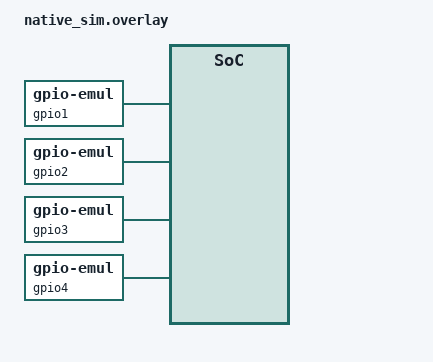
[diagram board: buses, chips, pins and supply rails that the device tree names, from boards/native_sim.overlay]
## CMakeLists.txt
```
# SPDX-FileCopyrightText: Copyright (c) 2024 Jilay Sandeep Pandya
# SPDX-License-Identifier: Apache-2.0

cmake_minimum_required(VERSION 3.28.0)
find_package(Zephyr REQUIRED HINTS $ENV{ZEPHYR_BASE})
project(stepper_api)

target_sources(app PRIVATE src/main.c)
```

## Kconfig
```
# Copyright (c) 2024 Josselin Bunt
# SPDX-License-Identifier: Apache-2.0

mainmenu "Stepper API Test"

source "Kconfig.zephyr"

config STEPPER_TEST_TIMING_TIMEOUT_TOLERANCE_PCT
	int "Stepper timing tolerance percentage"
	default 20
	help
	  Additional margin (%) added to step timing during test timeouts.
	  Accounts for execution and scheduling jitter.

config STEPPER_STOP_SIGNAL_WAIT_TIME_MS
	int "Wait time in ms to wait for stopping to conclude"
	default 0
	help
	  Wait time in milliseconds between stop request and response
```

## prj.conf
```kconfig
# SPDX-FileCopyrightText: Copyright (c) 2024 Jilay Sandeep Pandya
# SPDX-License-Identifier: Apache-2.0

CONFIG_ZTEST=y
CONFIG_TEST=y
CONFIG_TEST_USERSPACE=y
CONFIG_LOG=y
CONFIG_STEPPER_LOG_LEVEL_DBG=y
CONFIG_STEPPER=y
CONFIG_POLL=y
```

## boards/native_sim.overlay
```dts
/*
 * Copyright (c) 2025 Jilay Sandeep Pandya
 * SPDX-License-Identifier: Apache-2.0
 */

#include <zephyr/dt-bindings/gpio/gpio.h>

/ {
	gpio1: gpio1 {
		compatible = "zephyr,gpio-emul";
		#gpio-cells = <0x2>;
		gpio-controller;
		status = "okay";
	};

	gpio2: gpio2 {
		compatible = "zephyr,gpio-emul";
		#gpio-cells = <0x2>;
		gpio-controller;
		status = "okay";
	};

	gpio3: gpio3 {
		compatible = "zephyr,gpio-emul";
		#gpio-cells = <0x2>;
		gpio-controller;
		status = "okay";
	};

	gpio4: gpio4 {
		compatible = "zephyr,gpio-emul";
		#gpio-cells = <0x2>;
		gpio-controller;
		status = "okay";
	};
};
```

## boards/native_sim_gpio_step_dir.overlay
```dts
/*
 * Copyright (c) 2025 Jilay Sandeep Pandya
 * SPDX-License-Identifier: Apache-2.0
 */

#include "native_sim.overlay"

/ {
	aliases {
		stepper = &gpio_step_dir_controller;
	};

	gpio_step_dir_controller: gpio-step-dir-controller {
		compatible = "zephyr,gpio-step-dir-stepper-ctrl";
		step-gpios = <&gpio1 1 GPIO_ACTIVE_HIGH>;
		dir-gpios = <&gpio2 0 GPIO_ACTIVE_HIGH>;
		counter = <&counter0>;
	};
};
```

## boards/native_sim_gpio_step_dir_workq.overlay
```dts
/*
 * Copyright (c) 2025 Jilay Sandeep Pandya
 * SPDX-License-Identifier: Apache-2.0
 */

#include "native_sim.overlay"

/ {
	aliases {
		stepper = &gpio_step_dir_controller;
	};

	gpio_step_dir_controller: gpio-step-dir-controller {
		compatible = "zephyr,gpio-step-dir-stepper-ctrl";
		step-gpios = <&gpio1 1 GPIO_ACTIVE_HIGH>;
		dir-gpios = <&gpio2 0 GPIO_ACTIVE_HIGH>;
	};
};
```

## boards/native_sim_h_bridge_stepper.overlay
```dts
/*
 * Copyright (c) 2025 Jilay Sandeep Pandya
 *
 * SPDX-License-Identifier: Apache-2.0
 */

#include "native_sim.overlay"

/ {
	aliases {
		stepper = &h_bridge_stepper;
	};

	h_bridge_stepper: h-bridge-stepper {
		compatible = "zephyr,h-bridge-stepper-ctrl";
		lut-step-gap = <1>;
		gpios = <&gpio1 0 GPIO_ACTIVE_HIGH>,
			<&gpio2 0 GPIO_ACTIVE_HIGH>,
			<&gpio3 0 GPIO_ACTIVE_HIGH>,
			<&gpio4 0 GPIO_ACTIVE_HIGH>;
		counter = <&counter0>;
		status = "okay";
	};
};
```

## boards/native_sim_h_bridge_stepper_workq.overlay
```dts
/*
 * SPDX-FileCopyrightText: Copyright (c) 2024 Jilay Sandeep Pandya
 * SPDX-License-Identifier: Apache-2.0
 */

#include "native_sim.overlay"

/ {
	aliases {
		stepper = &h_bridge_stepper;
	};

	h_bridge_stepper: h-bridge-stepper {
		compatible = "zephyr,h-bridge-stepper-ctrl";
		lut-step-gap = <1>;
		gpios = <&gpio1 0 GPIO_ACTIVE_HIGH>,
			<&gpio2 0 GPIO_ACTIVE_HIGH>,
			<&gpio3 0 GPIO_ACTIVE_HIGH>,
			<&gpio4 0 GPIO_ACTIVE_HIGH>;
		status = "okay";
	};
};
```

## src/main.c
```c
/*
 * SPDX-FileCopyrightText: Copyright (c) 2025 Jilay Sandeep Pandya
 * SPDX-License-Identifier: Apache-2.0
 */

#include <zephyr/ztest.h>
#include <zephyr/drivers/stepper/stepper_ctrl.h>

#include <zephyr/logging/log.h>
LOG_MODULE_REGISTER(stepper_ctrl_api, CONFIG_STEPPER_LOG_LEVEL);

struct stepper_ctrl_fixture {
	const struct device *dev;
	stepper_ctrl_event_callback_t callback;
};

struct k_poll_signal stepper_signal;
struct k_poll_event stepper_ctrl_event;
void *user_data_received;

#define POLL_AND_CHECK_SIGNAL(signal, event, expected_event, timeout)                              \
	({                                                                                         \
		do {                                                                               \
			zassert_ok(k_poll(&(event), 1, timeout));                                  \
			unsigned int signaled;                                                     \
			int result;                                                                \
			k_poll_signal_check(&(signal), &signaled, &result);                        \
			zassert_equal(signaled, 1, "Signal not set");                              \
			zassert_equal(result, (expected_event), "Signal not set");                 \
		} while (0);                                                                       \
	})

static void stepper_print_event_callback(const struct device *dev, enum stepper_ctrl_event event,
					 void *user_data)
{
	const struct device *dev_callback = user_data;
	user_data_received = user_data;

	switch (event) {
	case STEPPER_CTRL_EVENT_STEPS_COMPLETED:
		k_poll_signal_raise(&stepper_signal, STEPPER_CTRL_EVENT_STEPS_COMPLETED);
		break;
	case STEPPER_CTRL_EVENT_LEFT_END_STOP_DETECTED:
		k_poll_signal_raise(&stepper_signal, STEPPER_CTRL_EVENT_LEFT_END_STOP_DETECTED);
		break;
	case STEPPER_CTRL_EVENT_RIGHT_END_STOP_DETECTED:
		k_poll_signal_raise(&stepper_signal, STEPPER_CTRL_EVENT_RIGHT_END_STOP_DETECTED);
		break;
	case STEPPER_CTRL_EVENT_STOPPED:
		k_poll_signal_raise(&stepper_signal, STEPPER_CTRL_EVENT_STOPPED);
		break;
	default:
		break;
	}

	LOG_DBG("Event %d, %s called for %s, expected for %s\n", event, __func__,
		dev_callback->name, dev->name);
}

static void *stepper_ctrl_setup(void)
{
	static struct stepper_ctrl_fixture fixture = {
		.dev = DEVICE_DT_GET(DT_ALIAS(stepper)),
		.callback = stepper_print_event_callback,
	};

	k_poll_signal_init(&stepper_signal);
	k_poll_event_init(&stepper_ctrl_event, K_POLL_TYPE_SIGNAL, K_POLL_MODE_NOTIFY_ONLY,
			  &stepper_signal);

	zassert_not_null(fixture.dev);
	zassert_equal(stepper_ctrl_set_event_cb(fixture.dev, fixture.callback,
						       (void *)fixture.dev),
		      0, "Failed to set event callback");
	return &fixture;
}

static void stepper_ctrl_before(void *f)
{
	struct stepper_ctrl_fixture *fixture = f;
	bool moving;

	zassert_ok(stepper_ctrl_set_reference_position(fixture->dev, 0));

	zassert_ok(stepper_ctrl_is_moving(fixture->dev, &moving));
	zassert_false(moving, "%s should not report moving", fixture->dev->name);

	k_poll_signal_reset(&stepper_signal);

	user_data_received = NULL;
}

static void stepper_ctrl_after(void *f)
{
	struct stepper_ctrl_fixture *fixture = f;

	k_poll_signal_reset(&stepper_signal);
	zassert_ok(stepper_ctrl_stop(fixture->dev));
	POLL_AND_CHECK_SIGNAL(stepper_signal, stepper_ctrl_event, STEPPER_CTRL_EVENT_STOPPED,
			      K_MSEC(CONFIG_STEPPER_STOP_SIGNAL_WAIT_TIME_MS));
}

ZTEST_SUITE(stepper_ctrl, NULL, stepper_ctrl_setup, stepper_ctrl_before, stepper_ctrl_after, NULL);

ZTEST_F(stepper_ctrl, test_set_micro_step_interval_invalid_zero)
{
	int err = stepper_ctrl_set_microstep_interval(fixture->dev, 0);
	if (err == -ENOSYS) {
		ztest_test_skip();
	}
	zassert_equal(err, -EINVAL, "ustep interval cannot be zero");
}

ZTEST_F(stepper_ctrl, test_actual_position)
{
	int32_t pos = 100u;
	int ret;

	ret = stepper_ctrl_set_reference_position(fixture->dev, pos);
	zassert_equal(ret, 0, "Failed to set reference position");

	ret = stepper_ctrl_get_actual_position(fixture->dev, &pos);
	zassert_equal(ret, 0, "Failed to get actual position");
	zassert_equal(pos, 100u, "Actual position not set correctly");
}

ZTEST_F(stepper_ctrl, test_move_to_positive_step_count)
{
	int32_t pos = 10u;
	int32_t actual_steps;
	bool moving = false;
	int ret;

	ret = stepper_ctrl_set_microstep_interval(fixture->dev, 100 * USEC_PER_SEC);
	if (ret == -ENOSYS) {
		ztest_test_skip();
	}

	zassert_ok(stepper_ctrl_move_to(fixture->dev, pos));
	zassert_ok(stepper_ctrl_is_moving(fixture->dev, &moving));
	zassert_true(moving, "%s reported not moving after move_to", fixture->dev->name);

	POLL_AND_CHECK_SIGNAL(
		stepper_signal, stepper_ctrl_event, STEPPER_CTRL_EVENT_STEPS_COMPLETED,
		K_MSEC(pos * (100 + CONFIG_STEPPER_TEST_TIMING_TIMEOUT_TOLERANCE_PCT)));

	zassert_ok(stepper_ctrl_get_actual_position(fixture->dev, &actual_steps));
	zassert_equal(pos, actual_steps, "Position should be %d but is %d", pos, actual_steps);
	zassert_equal(user_data_received, fixture->dev, "User data not received");
	zassert_ok(stepper_ctrl_is_moving(fixture->dev, &moving));
	zassert_false(moving, "%s reported moving even after completion of steps",
		      fixture->dev->name);
}

ZTEST_F(stepper_ctrl, test_move_to_negative_step_count)
{
	int32_t pos = -10;
	int32_t actual_steps;
	bool moving = false;
	int ret;

	ret = stepper_ctrl_set_microstep_interval(fixture->dev, 100 * USEC_PER_SEC);
	if (ret == -ENOSYS) {
		ztest_test_skip();
	}

	zassert_ok(stepper_ctrl_move_to(fixture->dev, pos));
	zassert_ok(stepper_ctrl_is_moving(fixture->dev, &moving));
	zassert_true(moving, "%s reported not moving after move_to", fixture->dev->name);

	POLL_AND_CHECK_SIGNAL(
		stepper_signal, stepper_ctrl_event, STEPPER_CTRL_EVENT_STEPS_COMPLETED,
		K_MSEC(-pos * (100 + CONFIG_STEPPER_TEST_TIMING_TIMEOUT_TOLERANCE_PCT)));

	zassert_ok(stepper_ctrl_get_actual_position(fixture->dev, &actual_steps));
	zassert_equal(pos, actual_steps, "Position should be %d but is %d", pos, actual_steps);
	zassert_ok(stepper_ctrl_is_moving(fixture->dev, &moving));
	zassert_false(moving, "%s reported moving even after completion of steps",
		      fixture->dev->name);
}

ZTEST_F(stepper_ctrl, test_move_by_positive_step_count)
{
	int32_t steps = 20;
	int32_t actual_steps;
	bool moving = false;
	int ret;

	ret = stepper_ctrl_set_microstep_interval(fixture->dev, 100 * USEC_PER_SEC);
	if (ret == -ENOSYS) {
		ztest_test_skip();
	}

	zassert_ok(stepper_ctrl_move_by(fixture->dev, steps));
	zassert_ok(stepper_ctrl_is_moving(fixture->dev, &moving));
	zassert_true(moving, "%s reported not moving after move_by", fixture->dev->name);

	POLL_AND_CHECK_SIGNAL(
		stepper_signal, stepper_ctrl_event, STEPPER_CTRL_EVENT_STEPS_COMPLETED,
		K_MSEC(steps * (100 + CONFIG_STEPPER_TEST_TIMING_TIMEOUT_TOLERANCE_PCT)));

	zassert_ok(stepper_ctrl_get_actual_position(fixture->dev, &actual_steps));
	zassert_equal(steps, actual_steps, "Position should be %d but is %d", steps, actual_steps);
	zassert_ok(stepper_ctrl_is_moving(fixture->dev, &moving));
	zassert_false(moving, "%s reported moving even after completion of steps",
		      fixture->dev->name);
}

ZTEST_F(stepper_ctrl, test_move_by_negative_step_count)
{
	int32_t steps = -20;
	int32_t actual_steps;
	bool moving = false;
	int ret;

	ret = stepper_ctrl_set_microstep_interval(fixture->dev, 100 * USEC_PER_SEC);
	if (ret == -ENOSYS) {
		ztest_test_skip();
	}

	zassert_ok(stepper_ctrl_move_by(fixture->dev, steps));
	zassert_ok(stepper_ctrl_is_moving(fixture->dev, &moving));
	zassert_true(moving, "%s reported not moving after move_by", fixture->dev->name);

	POLL_AND_CHECK_SIGNAL(
		stepper_signal, stepper_ctrl_event, STEPPER_CTRL_EVENT_STEPS_COMPLETED,
		K_MSEC(-steps * (100 + CONFIG_STEPPER_TEST_TIMING_TIMEOUT_TOLERANCE_PCT)));

	zassert_ok(stepper_ctrl_get_actual_position(fixture->dev, &actual_steps));
	zassert_equal(steps, actual_steps, "Position should be %d but is %d", steps, actual_steps);
	zassert_ok(stepper_ctrl_is_moving(fixture->dev, &moving));
	zassert_false(moving, "%s reported moving even after completion of steps",
		      fixture->dev->name);
}

ZTEST_F(stepper_ctrl, test_run_positive_direction)
{
	uint64_t step_interval = 20000000;
	int32_t actual_steps = 0;
	int ret;

	ret = stepper_ctrl_set_microstep_interval(fixture->dev, step_interval);
	if (ret == -ENOSYS) {
		ztest_test_skip();
	}

	zassert_ok(stepper_ctrl_run(fixture->dev, STEPPER_CTRL_DIRECTION_POSITIVE));
	k_usleep(110000);

	zassert_ok(stepper_ctrl_get_actual_position(fixture->dev, &actual_steps));
	zassert_true(IN_RANGE(actual_steps, 1, 6),
		     "Current position should be between 1 and 6 but is %d", actual_steps);
}

ZTEST_F(stepper_ctrl, test_run_negative_direction)
{
	uint64_t step_interval = 20000000;
	int32_t actual_steps = 0;
	int ret;

	ret = stepper_ctrl_set_microstep_interval(fixture->dev, step_interval);
	if (ret == -ENOSYS) {
		ztest_test_skip();
	}

	zassert_ok(stepper_ctrl_run(fixture->dev, STEPPER_CTRL_DIRECTION_NEGATIVE));
	k_usleep(110000);

	zassert_ok(stepper_ctrl_get_actual_position(fixture->dev, &actual_steps));
	zassert_true(IN_RANGE(actual_steps, -6, -1),
		     "Current position should be between -6 and -1 but is %d", actual_steps);
}

ZTEST_F(stepper_ctrl, test_stop)
{
	/* Run the stepper in positive direction */
	zassert_ok(stepper_ctrl_run(fixture->dev, STEPPER_CTRL_DIRECTION_POSITIVE));

	/* Stop the stepper */
	int ret = stepper_ctrl_stop(fixture->dev);
	bool is_moving;

	if (ret == 0) {
		POLL_AND_CHECK_SIGNAL(stepper_signal, stepper_ctrl_event,
				      STEPPER_CTRL_EVENT_STOPPED,
				      K_MSEC(CONFIG_STEPPER_STOP_SIGNAL_WAIT_TIME_MS));
		zassert_equal(user_data_received, fixture->dev, "User data not received");

		/* Check if the stepper is stopped */
		stepper_ctrl_is_moving(fixture->dev, &is_moving);
		zassert_equal(is_moving, false, "Stepper is still moving");
	} else if (ret == -ENOSYS) {
		stepper_ctrl_is_moving(fixture->dev, &is_moving);
		zassert_equal(is_moving, true,
			      "Stepper should be moving since stop is not implemented");
	} else {
		zassert_unreachable("Stepper stop failed");
	}
}

ZTEST_F(stepper_ctrl, test_move_zero_steps)
{
	bool moving;
	int32_t pos = 0;
	int32_t actual_steps;
	int err;

	err = stepper_ctrl_set_microstep_interval(fixture->dev, 100 * USEC_PER_SEC);
	if (err == -ENOSYS) {
		ztest_test_skip();
	}
	zassert_ok(err, "Failed to set microstep interval");

	zassert_ok(stepper_ctrl_move_by(fixture->dev, pos));
	POLL_AND_CHECK_SIGNAL(stepper_signal, stepper_ctrl_event,
			      STEPPER_CTRL_EVENT_STEPS_COMPLETED, K_NO_WAIT);
	zassert_ok(stepper_ctrl_is_moving(fixture->dev, &moving));
	zassert_false(moving, "%s reported moving even after completion of steps",
		      fixture->dev->name);
	zassert_ok(stepper_ctrl_move_to(fixture->dev, pos));
	POLL_AND_CHECK_SIGNAL(stepper_signal, stepper_ctrl_event,
			      STEPPER_CTRL_EVENT_STEPS_COMPLETED, K_NO_WAIT);
	zassert_ok(stepper_ctrl_get_actual_position(fixture->dev, &actual_steps));
	zassert_equal(pos, actual_steps, "Position should not have changed from %d", pos);
}
```
